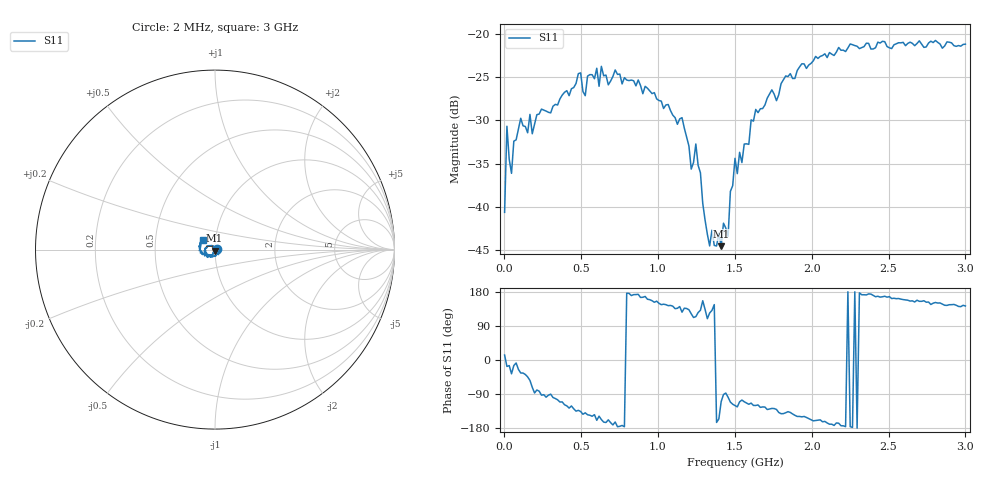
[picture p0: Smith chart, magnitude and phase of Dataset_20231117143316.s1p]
! 1-port S-parameter data taken at 201 frequency points
! Created by R&S SxP Library version 0.2.0 at 17-11-2023 15:25:51
# Hz S RI R 50
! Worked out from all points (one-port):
!   201 points, 2 MHz to 3 GHz, reference 50 ohm
!   lowest |S11| = -44.5 dB at 1.411 GHz (marker M1), VSWR 1.01, Z = 49.8 - j0.556 ohm
!   |S11| at or under -10 dB: start of sweep to end of sweep
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2000000  0.00907 0.00211
1.699e7  0.028 -0.00856
4.697e7  0.0126 -0.00929
6.196e7  0.0232 -0.00609
1.0693e8  0.0269 -0.0184
1.519e8  0.0191 -0.0188
1.6689e8  0.0202 -0.0277
1.8188e8  0.0082 -0.0252
3.7675e8  -0.0156 -0.0415
4.8168e8  -0.0401 -0.0432
7.515e8  -0.0584 -0.00513
1.12625e9  -0.0218 0.0207
1.15623e9  -0.0194 0.0265
1.21619e9  -0.00877 0.014
1.24617e9  -0.00954 0.0211
1.33611e9  -0.00334 0.00493
1.3511e9  -0.00481 0.00555
1.41106e9  -0.00202 -0.00558
1.42605e9  -0.000166 -0.00806
1.45603e9  -0.000977 -0.00669
1.47102e9  -0.00443 -0.0115
1.501e9  -0.00958 -0.0165
1.51599e9  -0.00864 -0.013
1.63591e9  -0.0183 -0.0317
1.87575e9  -0.0438 -0.0337
2.2505e9  -0.0873 -0.00651
2.62525e9  -0.0816 0.0334
3e9  -0.0693 0.053
